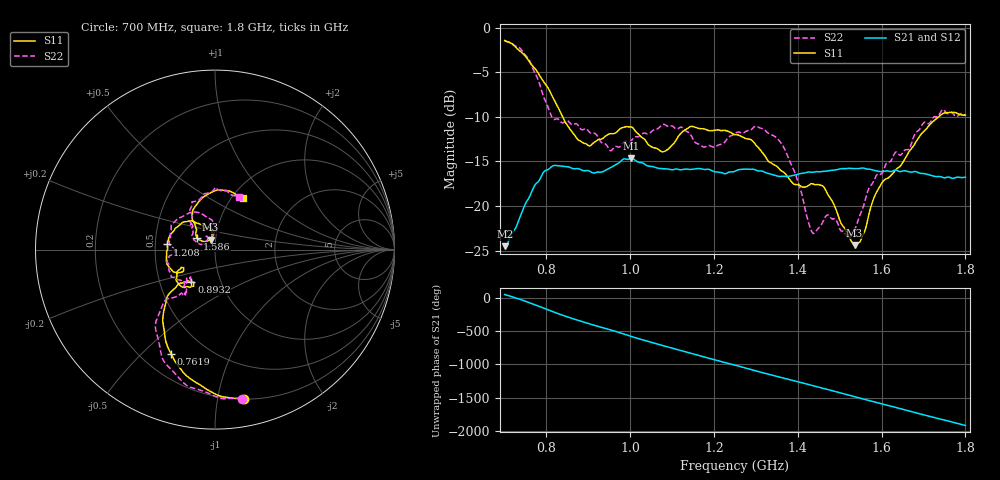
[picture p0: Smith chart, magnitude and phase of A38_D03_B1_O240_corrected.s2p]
! Created with skrf 1.9.0 (http://scikit-rf.org).
# Hz S RI R 50.0
!freq ReS11 ImS11 ReS21 ImS21 ReS12 ImS12 ReS22 ImS22
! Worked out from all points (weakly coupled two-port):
!   1601 points, 700 MHz to 1.8 GHz, reference 50 ohm
!   highest |S21| = -14.66 dB at 1.002 GHz (marker M1); lowest = -24.5 dB at 700.7 MHz (marker M2)
!   lowest |S11| = -24.4 dB at 1.535 GHz (marker M3), VSWR 1.13, Z = 47.3 + j5.23 ohm
!   |S11| at or under -10 dB: 838.3 MHz to 1.736 GHz (897.7 MHz wide, 69.7 % of centre)
!   |S22| runs from -23.6 to -1.5 dB; largest |S21 - S12| = 0.0035
!   S11 on the Smith chart (normalised r, x): 700 MHz: 0.20, -1.19; 761.9 MHz: 0.32, -0.62; 893.2 MHz: 0.72, -0.28; 1.208 GHz: 0.58, +0.04; 1.586 GHz: 0.81, +0.10; 1.8 GHz: 1.12, +0.71
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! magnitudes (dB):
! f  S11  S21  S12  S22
! 700 MHz  -1.4  -24.5  -24.3  -1.5
! 700.7 MHz  -1.5  -24.5  -24.2  -1.5
! 761.9 MHz  -4.0  -18.7  -18.6  -3.9
! 814.8 MHz  -7.8  -15.5  -15.6  -10.2
! 883.6 MHz  -12.8  -16.0  -15.9  -11.4
! 893.2 MHz  -13.0  -16.0  -16.1  -11.3
! 953 MHz  -11.9  -15.7  -15.7  -13.8
! 1.002 GHz  -11.1  -14.7  -14.8  -12.7
! 1.067 GHz  -13.6  -15.8  -15.7  -11.3
! 1.143 GHz  -11.1  -15.9  -15.9  -11.9
! 1.208 GHz  -11.4  -16.2  -16.2  -13.2
! 1.25 GHz  -12.0  -16.1  -16.0  -11.9
! 1.356 GHz  -15.8  -16.7  -16.6  -12.7
! 1.394 GHz  -17.6  -16.5  -16.5  -16.4
! 1.434 GHz  -17.5  -16.2  -16.2  -22.9
! 1.471 GHz  -18.6  -16.1  -16.1  -21.0
! 1.535 GHz  -24.4  -15.8  -15.8  -22.7
! 1.555 GHz  -23.3  -15.7  -15.8  -20.2
! 1.586 GHz  -18.6  -16.0  -16.0  -16.7
! 1.617 GHz  -16.8  -16.1  -16.1  -15.1
! 1.738 GHz  -9.9  -16.7  -16.7  -9.7
! 1.8 GHz  -9.8  -16.8  -16.8  -9.9
